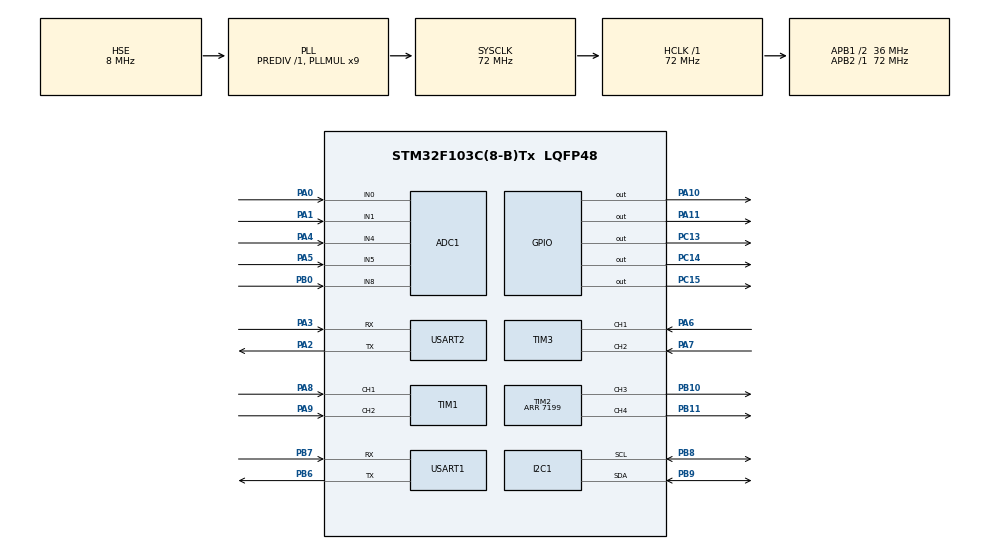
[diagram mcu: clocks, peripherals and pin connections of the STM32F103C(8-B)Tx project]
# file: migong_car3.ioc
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ADC1.Channel-0\#ChannelRegularConversion=ADC_CHANNEL_0
ADC1.NbrOfConversionFlag=1
ADC1.Rank-0\#ChannelRegularConversion=1
ADC1.SamplingTime-0\#ChannelRegularConversion=ADC_SAMPLETIME_55CYCLES_5
ADC1.master=1
I2C1.I2C_Mode=I2C_Fast
Mcu.Family=STM32F1
Mcu.Name=STM32F103C(8-B)Tx
Mcu.Package=LQFP48
NVIC.PriorityGroup=NVIC_PRIORITYGROUP_4
NVIC.TIM4_IRQn=true\:0\:0\:false\:false\:true\:true\:true\:true
PA0-WKUP.Signal=SharedAnalog_PA0
PA1.Signal=SharedAnalog_PA1
PA10.GPIO_Speed=GPIO_SPEED_FREQ_LOW
PA10.Signal=GPIO_Output
PA11.Signal=GPIO_Output
PA13.Mode=Serial_Wire
PA13.Signal=SYS_JTMS-SWDIO
PA14.Mode=Serial_Wire
PA14.Signal=SYS_JTCK-SWCLK
PA2.Mode=Asynchronous
PA2.Signal=USART2_TX
PA3.Mode=Asynchronous
PA3.Signal=USART2_RX
PA4.Signal=SharedAnalog_PA4
PA5.Signal=SharedAnalog_PA5
PA6.Signal=S_TIM3_CH1
PA7.Signal=S_TIM3_CH2
PA8.Signal=S_TIM1_CH1
PA9.Signal=S_TIM1_CH2
PB0.Signal=SharedAnalog_PB0
PB10.Signal=S_TIM2_CH3
PB11.Signal=S_TIM2_CH4
PB6.Mode=Asynchronous
PB6.Signal=USART1_TX
PB7.Mode=Asynchronous
PB7.Signal=USART1_RX
PB8.Mode=I2C
PB8.Signal=I2C1_SCL
PB9.Mode=I2C
PB9.Signal=I2C1_SDA
PC13-TAMPER-RTC.GPIO_PuPd=GPIO_PULLUP
PC13-TAMPER-RTC.GPIO_Speed=GPIO_SPEED_FREQ_LOW
PC13-TAMPER-RTC.PinState=GPIO_PIN_SET
PC13-TAMPER-RTC.Signal=GPIO_Output
PC14-OSC32_IN.Signal=GPIO_Output
PC15-OSC32_OUT.Signal=GPIO_Output
PD0-OSC_IN.Mode=HSE-External-Oscillator
PD0-OSC_IN.Signal=RCC_OSC_IN
PD1-OSC_OUT.Mode=HSE-External-Oscillator
PD1-OSC_OUT.Signal=RCC_OSC_OUT
ProjectManager.HeapSize=0x200
ProjectManager.StackSize=0x400
ProjectManager.TargetToolchain=MDK-ARM V5.32
RCC.ADCPresc=RCC_ADCPCLK2_DIV6
RCC.AHBFreq_Value=72000000
RCC.APB1CLKDivider=RCC_HCLK_DIV2
RCC.APB1Freq_Value=36000000
RCC.APB1TimFreq_Value=72000000
RCC.APB2Freq_Value=72000000
RCC.APB2TimFreq_Value=72000000
RCC.HCLKFreq_Value=72000000
RCC.PLLMUL=RCC_PLL_MUL9
RCC.PLLSourceVirtual=RCC_PLLSOURCE_HSE
RCC.SYSCLKFreq_VALUE=72000000
RCC.SYSCLKSource=RCC_SYSCLKSOURCE_PLLCLK
RCC.USBFreq_Value=72000000
SH.S_TIM1_CH1.0=TIM1_CH1,Encoder_Interface
SH.S_TIM1_CH2.0=TIM1_CH2,Encoder_Interface
SH.S_TIM2_CH3.0=TIM2_CH3,PWM Generation3 CH3
SH.S_TIM2_CH4.0=TIM2_CH4,PWM Generation4 CH4
SH.S_TIM3_CH1.0=TIM3_CH1,Encoder_Interface
SH.S_TIM3_CH2.0=TIM3_CH2,Encoder_Interface
SH.SharedAnalog_PA0.0=GPIO_Analog
SH.SharedAnalog_PA0.1=ADC1_IN0,IN0
SH.SharedAnalog_PA1.0=GPIO_Analog
SH.SharedAnalog_PA1.1=ADC1_IN1,IN1
SH.SharedAnalog_PA4.0=GPIO_Analog
SH.SharedAnalog_PA4.1=ADC1_IN4,IN4
SH.SharedAnalog_PA5.0=GPIO_Analog
SH.SharedAnalog_PA5.1=ADC1_IN5,IN5
SH.SharedAnalog_PB0.0=GPIO_Analog
SH.SharedAnalog_PB0.1=ADC1_IN8,IN8
TIM1.AutoReloadPreload=TIM_AUTORELOAD_PRELOAD_ENABLE
TIM1.EncoderMode=TIM_ENCODERMODE_TI12
TIM2.AutoReloadPreload=TIM_AUTORELOAD_PRELOAD_ENABLE
TIM2.Channel-PWM\ Generation3\ CH3=TIM_CHANNEL_3
TIM2.Channel-PWM\ Generation4\ CH4=TIM_CHANNEL_4
TIM2.Period=7199
TIM3.AutoReloadPreload=TIM_AUTORELOAD_PRELOAD_ENABLE
TIM3.EncoderMode=TIM_ENCODERMODE_TI12
TIM4.AutoReloadPreload=TIM_AUTORELOAD_PRELOAD_ENABLE
TIM4.Period=99
TIM4.Prescaler=7199
USART1.VirtualMode=VM_ASYNC
USART2.VirtualMode=VM_ASYNC
VP_TIM2_VS_ClockSourceINT.Mode=Internal
VP_TIM4_VS_ClockSourceINT.Mode=Internal
board=custom

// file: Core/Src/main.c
/* USER CODE BEGIN Header */
/**
  ******************************************************************************
  * @file           : main.c
  * @brief          : Main program body
  ******************************************************************************
  * @attention
  *
  * Copyright (c) 2023 STMicroelectronics.
  * All rights reserved.
  *
  * This software is licensed under terms that can be found in the LICENSE file
  * in the root directory of this software component.
  * If no LICENSE file comes with this software, it is provided AS-IS.
  *
  ******************************************************************************
  */
/* USER CODE END Header */
#include "main.h"
#include "adc.h"
#include "i2c.h"
#include "tim.h"
#include "usart.h"
#include "gpio.h"

/* USER CODE BEGIN Includes */
#include "control.h"
#include "track.h"
#include "stdio.h"
/* USER CODE END Includes */

void SystemClock_Config(void);

int main(void)
{
  /* USER CODE BEGIN 1 */
	int TraceDate;
	char buf[22];
  /* USER CODE END 1 */

  /* MCU Configuration--------------------------------------------------------*/

  /* Reset of all peripherals, Initializes the Flash interface and the Systick. */
  HAL_Init();

  /* Configure the system clock */
  SystemClock_Config();

  /* Initialize all configured peripherals */
  MX_GPIO_Init();
  MX_ADC1_Init();
  MX_I2C1_Init();
  MX_TIM1_Init();
  MX_TIM2_Init();
  MX_TIM3_Init();
  MX_TIM4_Init();
  MX_USART1_UART_Init();
  MX_USART2_UART_Init();
  /* USER CODE BEGIN 2 */
	OLED_Init();
	Track_Init();
	PID_Init();
	Motor_Init();
	Encoder_Init();
	Straight_Trail_param();

  /* USER CODE END 2 */

  /* Infinite loop */
  /* USER CODE BEGIN WHILE */
  while (1)
  {
//		GetParament();
//		OLED_Proc();

		TraceDate = GetTraceDate();
		sprintf(buf, "Trace: %d ", TraceDate);
		OLED_ShowStr(0, 0, (unsigned char* )buf, 1);
		if(TraceDate == 30000) {
			Motor_Stop();
		}
		else {
			// ����ѭ��ִ��

			TraceMove(TraceDate, 0.2);
		}
    /* USER CODE END WHILE */

  }
}

void SystemClock_Config(void)
{
  RCC_OscInitTypeDef RCC_OscInitStruct = {0};
  RCC_ClkInitTypeDef RCC_ClkInitStruct = {0};
  RCC_PeriphCLKInitTypeDef PeriphClkInit = {0};

  /** Initializes the RCC Oscillators according to the specified parameters
  * in the RCC_OscInitTypeDef structure.
  */
  RCC_OscInitStruct.OscillatorType = RCC_OSCILLATORTYPE_HSE;
  RCC_OscInitStruct.HSEState = RCC_HSE_ON;
  RCC_OscInitStruct.HSEPredivValue = RCC_HSE_PREDIV_DIV1;
  RCC_OscInitStruct.HSIState = RCC_HSI_ON;
  RCC_OscInitStruct.PLL.PLLState = RCC_PLL_ON;
  RCC_OscInitStruct.PLL.PLLSource = RCC_PLLSOURCE_HSE;
  RCC_OscInitStruct.PLL.PLLMUL = RCC_PLL_MUL9;
  if (HAL_RCC_OscConfig(&RCC_OscInitStruct) != HAL_OK)
  {
    Error_Handler();
  }

  /** Initializes the CPU, AHB and APB buses clocks
  */
  RCC_ClkInitStruct.ClockType = RCC_CLOCKTYPE_HCLK|RCC_CLOCKTYPE_SYSCLK
                              |RCC_CLOCKTYPE_PCLK1|RCC_CLOCKTYPE_PCLK2;
  RCC_ClkInitStruct.SYSCLKSource = RCC_SYSCLKSOURCE_PLLCLK;
  RCC_ClkInitStruct.AHBCLKDivider = RCC_SYSCLK_DIV1;
  RCC_ClkInitStruct.APB1CLKDivider = RCC_HCLK_DIV2;
  RCC_ClkInitStruct.APB2CLKDivider = RCC_HCLK_DIV1;

  if (HAL_RCC_ClockConfig(&RCC_ClkInitStruct, FLASH_LATENCY_2) != HAL_OK)
  {
    Error_Handler();
  }
  PeriphClkInit.PeriphClockSelection = RCC_PERIPHCLK_ADC;
  PeriphClkInit.AdcClockSelection = RCC_ADCPCLK2_DIV6;
  if (HAL_RCCEx_PeriphCLKConfig(&PeriphClkInit) != HAL_OK)
  {
    Error_Handler();
  }
}

void Error_Handler(void)
{
  __disable_irq();
  while (1)
  {
  }
}
